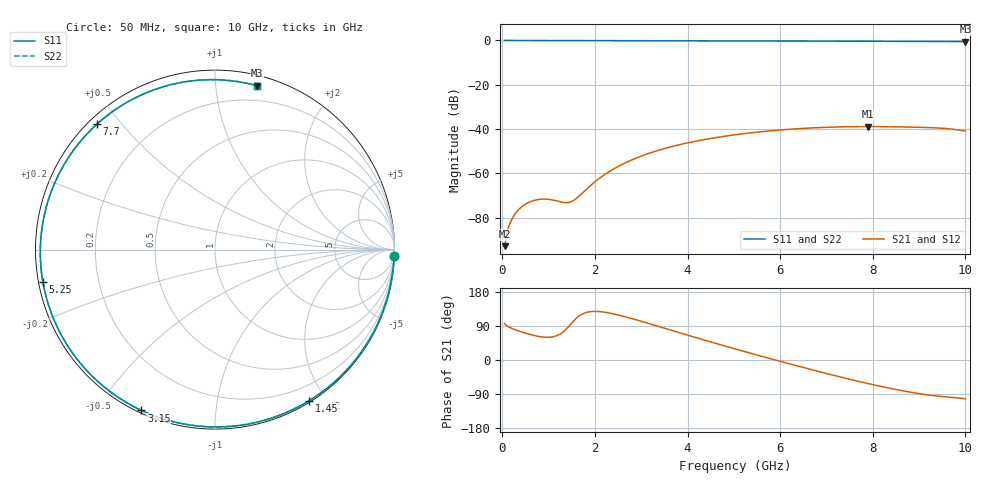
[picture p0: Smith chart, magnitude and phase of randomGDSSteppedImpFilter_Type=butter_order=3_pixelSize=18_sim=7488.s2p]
! freq	dB(S11)	phase(S11)	dB(S12)	phase(S12)
!  dB(S21)	phase(S21)	dB(S22)	phase(S22)
!S-par simulation data
#  GHz  S  DB  R 50
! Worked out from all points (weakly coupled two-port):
!   200 points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, 50 MHz to 10 GHz, reference 50 ohm
!   highest |S21| = -38.87 dB at 7.9 GHz (marker M1); lowest = -92.8 dB at 50 MHz (marker M2)
!   lowest |S11| = -0.5 dB at 10 GHz (marker M3), VSWR 33.77, Z = 3.92 + j64.1 ohm
!   |S11| at or under -10 dB: nowhere
!   |S22| runs from -0.5 to 0.0 dB; largest |S21 - S12| = 0
!   S11 on the Smith chart (normalised r, x): 50 MHz: 1, -57; 1.45 GHz: 0.02, -1.80; 3.15 GHz: 0.01, -0.64; 5.25 GHz: 0.01, -0.09; 7.7 GHz: 0.02, +0.43; 10 GHz: 0.08, +1.28
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0.05  -0.01 -2.0  -92.84 95.9  -92.84 95.9  -0.01 -2.0
0.2  -0.02 -8.3  -80.89 83.6  -80.89 83.6  -0.02 -8.3
0.45  -0.03 -18.6  -74.58 72.7  -74.58 72.7  -0.03 -18.6
0.7  -0.04 -28.9  -72.12 64.3  -72.12 64.3  -0.04 -28.9
0.95  -0.05 -38.9  -71.61 60.0  -71.61 60.0  -0.05 -38.9
1.45  -0.07 -58.1  -73.04 90.8  -73.04 90.8  -0.07 -58.1
1.55  -0.08 -61.8  -72.08 104.3  -72.08 104.3  -0.08 -61.9
1.75  -0.08 -69.1  -68.49 122.6  -68.49 122.6  -0.08 -69.1
2.05  -0.09 -79.7  -62.97 128.1  -62.97 128.1  -0.09 -79.7
2.35  -0.10 -89.8  -58.67 123.0  -58.67 123.0  -0.10 -89.8
3.15  -0.13 -114.6  -51.07 96.8  -51.07 96.8  -0.13 -114.6
3.4  -0.14 -121.8  -49.40 87.7  -49.40 87.7  -0.14 -121.8
4.2  -0.17 -143.4  -45.36 58.4  -45.36 58.4  -0.17 -143.4
5.05  -0.20 -164.6  -42.50 28.5  -42.50 28.5  -0.20 -164.6
5.25  -0.21 -169.4  -41.98 21.6  -41.98 21.6  -0.21 -169.4
5.95  -0.25 174.1  -40.50 -1.8  -40.50 -1.8  -0.25 174.1
6.7  -0.29 156.7  -39.46 -26.2  -39.46 -26.2  -0.29 156.6
7.7  -0.36 133.2  -38.89 -56.7  -38.89 -56.7  -0.36 133.2
7.9  -0.37 128.4  -38.87 -62.3  -38.87 -62.3  -0.37 128.4
8.35  -0.40 117.6  -38.93 -74.2  -38.93 -74.2  -0.40 117.5
9.2  -0.46 96.4  -39.32 -92.3  -39.32 -92.3  -0.46 96.4
10  -0.51 75.8  -40.89 -102.4  -40.89 -102.4  -0.51 75.7
